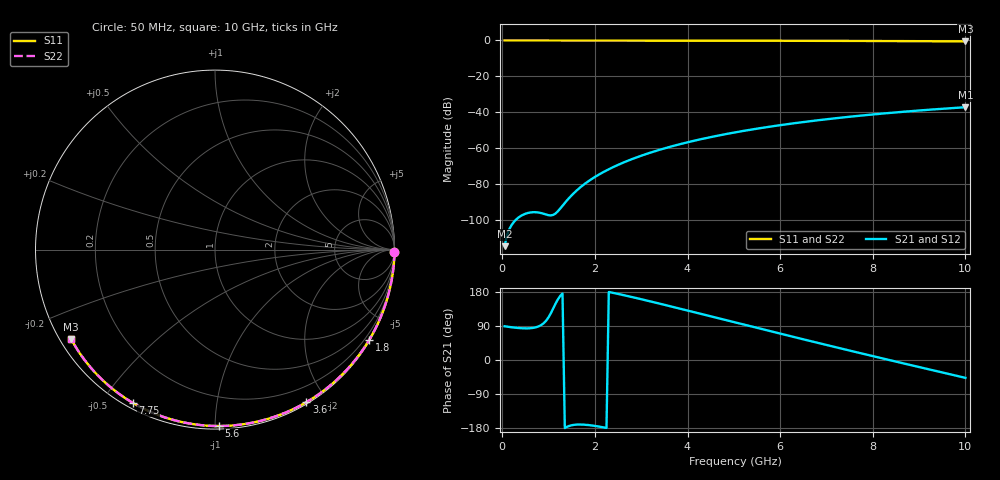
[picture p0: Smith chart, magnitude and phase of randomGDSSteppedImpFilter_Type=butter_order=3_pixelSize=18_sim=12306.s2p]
! freq	dB(S11)	phase(S11)	dB(S12)	phase(S12)
!  dB(S21)	phase(S21)	dB(S22)	phase(S22)
!S-par simulation data
#  GHz  S  DB  R 50
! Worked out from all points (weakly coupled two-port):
!   200 points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, 50 MHz to 10 GHz, reference 50 ohm
!   highest |S21| = -37.27 dB at 10 GHz (marker M1); lowest = -114.8 dB at 50 MHz (marker M2)
!   lowest |S11| = -0.5 dB at 10 GHz (marker M3), VSWR 34.60, Z = 1.56 - j14.3 ohm
!   |S11| at or under -10 dB: nowhere
!   |S22| runs from -0.5 to 0.0 dB; largest |S21 - S12| = 0
!   S11 on the Smith chart (normalised r, x): 50 MHz: open; 1.8 GHz: 0.03, -3.70; 3.6 GHz: 0.02, -1.76; 5.6 GHz: 0.02, -1.02; 7.75 GHz: 0.02, -0.60; 10 GHz: 0.03, -0.29
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0.05  -0.00 -0.9  -114.79 89.1  -114.79 89.1  -0.00 -0.9
0.45  -0.01 -7.7  -97.23 83.6  -97.23 83.6  -0.01 -7.7
0.9  -0.02 -15.3  -96.77 97.8  -96.77 97.8  -0.02 -15.3
1.75  -0.04 -29.5  -80.62 -170.6  -80.62 -170.6  -0.04 -29.5
1.8  -0.04 -30.3  -79.64 -171.0  -79.64 -171.0  -0.04 -30.3
1.95  -0.04 -32.7  -76.98 -173.1  -76.98 -173.1  -0.04 -32.7
2.1  -0.04 -35.2  -74.64 -175.9  -74.64 -175.9  -0.04 -35.2
2.3  -0.05 -38.5  -71.86 179.5  -71.86 179.5  -0.05 -38.4
2.5  -0.05 -41.7  -69.42 174.4  -69.42 174.4  -0.05 -41.7
2.9  -0.06 -48.1  -65.25 163.3  -65.25 163.3  -0.06 -48.1
3.4  -0.07 -56.0  -60.98 148.6  -60.98 148.6  -0.07 -56.0
3.6  -0.08 -59.1  -59.50 142.6  -59.50 142.6  -0.08 -59.1
4.3  -0.10 -69.7  -55.04 121.4  -55.04 121.4  -0.10 -69.7
5.05  -0.12 -80.8  -51.19 98.4  -51.19 98.4  -0.12 -80.8
5.6  -0.15 -88.8  -48.81 81.7  -48.81 81.7  -0.15 -88.7
6.15  -0.17 -96.5  -46.73 65.1  -46.73 65.1  -0.17 -96.5
6.7  -0.20 -104.1  -44.89 48.6  -44.89 48.6  -0.20 -104.1
7.2  -0.23 -110.9  -43.39 33.7  -43.39 33.7  -0.23 -110.9
7.75  -0.27 -118.3  -41.91 17.5  -41.91 17.5  -0.27 -118.3
8.35  -0.33 -126.3  -40.47 0.1  -40.47 0.1  -0.33 -126.3
9.2  -0.41 -137.5  -38.69 -24.3  -38.69 -24.3  -0.41 -137.5
10  -0.50 -148.1  -37.27 -47.1  -37.27 -47.1  -0.50 -148.1
